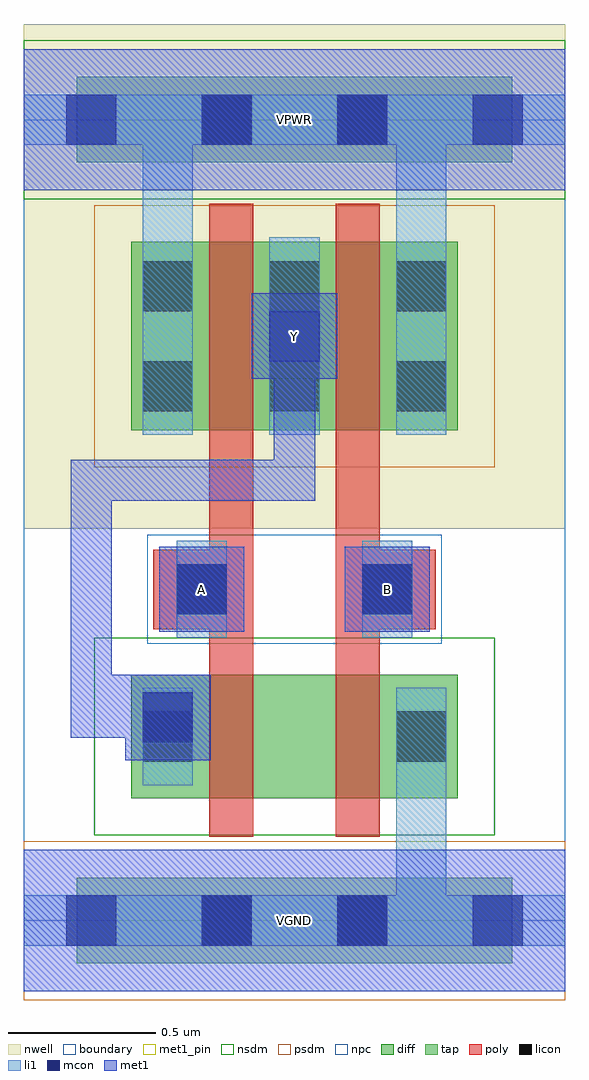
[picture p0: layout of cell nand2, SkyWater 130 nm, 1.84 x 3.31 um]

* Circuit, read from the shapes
.subckt nand2 A B VGND VPWR Y
XM1 n1 A Y VGND sky130_fd_pr__nfet_01v8 w=0.42 l=0.15
XM2 VGND B n1 VGND sky130_fd_pr__nfet_01v8 w=0.42 l=0.15
XM3 Y A VPWR VPWR sky130_fd_pr__pfet_01v8 w=0.64 l=0.15
XM4 VPWR B Y VPWR sky130_fd_pr__pfet_01v8 w=0.64 l=0.15
.ends

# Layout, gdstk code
import gdstk
lib = gdstk.Library(unit=1e-6, precision=1e-09)
def R(c, l, rs):  # rectangles x0, y0, x1, y1
    for r in rs: c.add(gdstk.rectangle(r[:2], r[2:], *l))
def A(c, l, x, y, w, h, nx, ny, dx, dy):  # array of equal rectangles
    R(c, l, [(x+i*dx, y+j*dy, x+i*dx+w, y+j*dy+h) for i in range(nx) for j in range(ny)])
nwell = (64, 20)
diff = (65, 20)
tap = (65, 44)
poly = (66, 20)
licon = (66, 44)
li1 = (67, 20)
mcon = (67, 44)
met1_pin = (68, 16)
met1 = (68, 20)
nsdm = (93, 44)
psdm = (94, 20)
npc = (95, 20)
boundary = (235, 4)

nand2 = lib.new_cell('nand2')
R(nand2, nwell, [(0,1.33,1.84,3.045)])
R(nand2, diff, [(0.365,0.415,1.475,0.835), (0.365,1.665,1.475,2.305)])
R(nand2, tap, [(0.18,-0.145,1.66,0.145), (0.18,2.575,1.66,2.865)])
R(nand2, poly, [(0.63,0.285,0.78,2.435), (1.06,0.285,1.21,2.435), (0.44,0.99,0.77,1.26), (1.07,0.99,1.4,1.26)])
A(nand2, licon, 0.405, 1.73, 0.17, 0.17, 3, 2, 0.43, 0.34)
R(nand2, licon, [(0.605,-0.085,0.775,0.085), (1.065,-0.085,1.235,0.085), (0.405,0.54,0.575,0.71), (1.265,0.54,1.435,0.71), (0.52,1.04,0.69,1.21), (1.15,1.04,1.32,1.21), (0.605,2.635,0.775,2.805), (1.065,2.635,1.235,2.805)])
A(nand2, li1, 0.405, 1.65, 0.17, 0.67, 3, 1, 0.43, 0)
R(nand2, li1, [(0,-0.085,1.84,0.085), (1.265,-0.085,1.435,0.79), (0.405,0.46,0.575,0.79), (1.265,0.46,1.435,0.79), (0.52,0.96,0.69,1.29), (1.15,0.96,1.32,1.29), (0.405,1.65,0.575,2.805), (1.265,1.65,1.435,2.805), (0,2.635,1.84,2.805)])
A(nand2, mcon, 0.145, -0.085, 0.17, 0.17, 4, 2, 0.46, 2.72)
R(nand2, mcon, [(0.405,0.605,0.575,0.775), (0.52,1.04,0.69,1.21), (1.15,1.04,1.32,1.21), (0.835,1.9,1.005,2.07)])
R(nand2, met1_pin, [(0,-0.24,1.84,0.24), (0.46,0.98,0.75,1.27), (1.09,0.98,1.38,1.27), (0.775,1.84,1.065,2.13), (0,2.48,1.84,2.96)])
R(nand2, met1, [(0,-0.24,1.84,0.24), (0.345,0.545,0.635,0.835), (0.16,0.62,0.3,1.565), (0.16,0.62,0.415,0.76), (0.275,0.62,0.56,0.76), (0.3,0.62,0.345,0.835), (0.3,0.62,0.345,0.835), (0.3,0.62,0.345,0.835), (0.3,0.62,0.345,0.835), (0.3,0.62,0.345,0.835), (0.3,0.62,0.345,0.835), (0.46,0.98,0.75,1.27), (1.09,0.98,1.38,1.27), (0.16,1.425,0.99,1.565), (0.85,1.425,0.99,2.025), (0.775,1.84,1.065,2.13), (0.85,1.885,0.99,2.025), (0,2.48,1.84,2.96)])
R(nand2, nsdm, [(0.24,0.29,1.6,0.96), (0,2.45,1.84,2.99)])
R(nand2, psdm, [(0,-0.27,1.84,0.27), (0.24,1.54,1.6,2.43)])
R(nand2, npc, [(0.42,0.94,1.42,1.31)])
R(nand2, boundary, [(0,0,1.84,2.72)])
nand2.add(gdstk.Label('A', (0.605,1.125), layer=68, texttype=5))
nand2.add(gdstk.Label('B', (1.235,1.125), layer=68, texttype=5))
nand2.add(gdstk.Label('Y', (0.92,1.985), layer=68, texttype=5))
nand2.add(gdstk.Label('VPWR', (0.92,2.72), layer=68, texttype=5))
nand2.add(gdstk.Label('VGND', (0.92,0), layer=68, texttype=5))
nand2.add(gdstk.Label('A', (0.605,1.125), layer=68, texttype=16))
nand2.add(gdstk.Label('B', (1.235,1.125), layer=68, texttype=16))
nand2.add(gdstk.Label('Y', (0.92,1.985), layer=68, texttype=16))
nand2.add(gdstk.Label('VPWR', (0.92,2.72), layer=68, texttype=16))
nand2.add(gdstk.Label('VGND', (0.92,0), layer=68, texttype=16))

lib.write_gds('nand2.gds')
